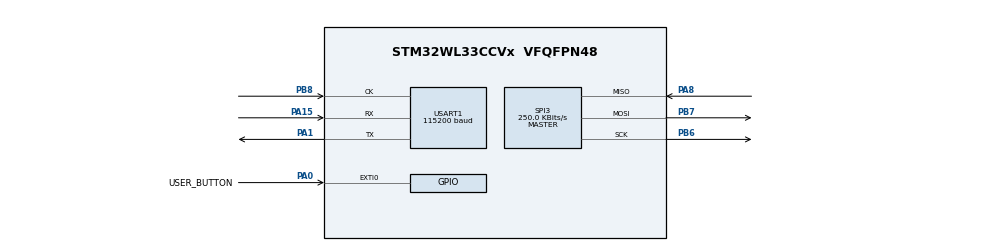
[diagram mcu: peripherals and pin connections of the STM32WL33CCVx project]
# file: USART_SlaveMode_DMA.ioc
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Dma.Request0=USART1_RX
Dma.Request1=USART1_TX
Dma.Request2=SPI3_TX
Dma.Request3=SPI3_RX
Dma.SPI3_RX.3.Direction=DMA_PERIPH_TO_MEMORY
Dma.SPI3_RX.3.EventEnable=DISABLE
Dma.SPI3_RX.3.FIFOMode=DMA_FIFOMODE_DISABLE
Dma.SPI3_RX.3.Instance=DMA1_Channel2
Dma.SPI3_RX.3.MDMA_Chaining=ENABLE
Dma.SPI3_RX.3.Mandatory=DISABLE
Dma.SPI3_RX.3.MemDataAlignment=DMA_MDATAALIGN_BYTE
Dma.SPI3_RX.3.MemInc=DMA_MINC_ENABLE
Dma.SPI3_RX.3.Mode=DMA_NORMAL
Dma.SPI3_RX.3.PeriphDataAlignment=DMA_PDATAALIGN_BYTE
Dma.SPI3_RX.3.PeriphInc=DMA_PINC_DISABLE
Dma.SPI3_RX.3.Priority=DMA_PRIORITY_VERY_HIGH
Dma.SPI3_RX.3.SignalID=NONE
Dma.SPI3_RX.3.SyncEnable=DISABLE
Dma.SPI3_RX.3.SyncRequestNumber=1
Dma.SPI3_TX.2.Direction=DMA_MEMORY_TO_PERIPH
Dma.SPI3_TX.2.EventEnable=DISABLE
Dma.SPI3_TX.2.FIFOMode=DMA_FIFOMODE_DISABLE
Dma.SPI3_TX.2.Instance=DMA1_Channel1
Dma.SPI3_TX.2.MDMA_Chaining=ENABLE
Dma.SPI3_TX.2.Mandatory=DISABLE
Dma.SPI3_TX.2.MemDataAlignment=DMA_MDATAALIGN_BYTE
Dma.SPI3_TX.2.MemInc=DMA_MINC_ENABLE
Dma.SPI3_TX.2.Mode=DMA_NORMAL
Dma.SPI3_TX.2.PeriphDataAlignment=DMA_PDATAALIGN_BYTE
Dma.SPI3_TX.2.PeriphInc=DMA_PINC_DISABLE
Dma.SPI3_TX.2.Priority=DMA_PRIORITY_VERY_HIGH
Dma.SPI3_TX.2.SignalID=NONE
Dma.SPI3_TX.2.SyncEnable=DISABLE
Dma.SPI3_TX.2.SyncRequestNumber=1
Dma.USART1_RX.0.Direction=DMA_PERIPH_TO_MEMORY
Dma.USART1_RX.0.EventEnable=DISABLE
Dma.USART1_RX.0.FIFOMode=DMA_FIFOMODE_DISABLE
Dma.USART1_RX.0.Instance=DMA1_Channel3
Dma.USART1_RX.0.MDMA_Chaining=ENABLE
Dma.USART1_RX.0.Mandatory=DISABLE
Dma.USART1_RX.0.MemDataAlignment=DMA_MDATAALIGN_BYTE
Dma.USART1_RX.0.MemInc=DMA_MINC_ENABLE
Dma.USART1_RX.0.Mode=DMA_NORMAL
Dma.USART1_RX.0.PeriphDataAlignment=DMA_PDATAALIGN_BYTE
Dma.USART1_RX.0.PeriphInc=DMA_PINC_DISABLE
Dma.USART1_RX.0.Priority=DMA_PRIORITY_VERY_HIGH
Dma.USART1_RX.0.SignalID=NONE
Dma.USART1_RX.0.SyncEnable=DISABLE
Dma.USART1_RX.0.SyncRequestNumber=1
Dma.USART1_TX.1.Direction=DMA_MEMORY_TO_PERIPH
Dma.USART1_TX.1.EventEnable=DISABLE
Dma.USART1_TX.1.FIFOMode=DMA_FIFOMODE_DISABLE
Dma.USART1_TX.1.Instance=DMA1_Channel4
Dma.USART1_TX.1.MDMA_Chaining=ENABLE
Dma.USART1_TX.1.Mandatory=DISABLE
Dma.USART1_TX.1.MemDataAlignment=DMA_MDATAALIGN_BYTE
Dma.USART1_TX.1.MemInc=DMA_MINC_ENABLE
Dma.USART1_TX.1.Mode=DMA_NORMAL
Dma.USART1_TX.1.PeriphDataAlignment=DMA_PDATAALIGN_BYTE
Dma.USART1_TX.1.PeriphInc=DMA_PINC_DISABLE
Dma.USART1_TX.1.Priority=DMA_PRIORITY_VERY_HIGH
Dma.USART1_TX.1.SignalID=NONE
Dma.USART1_TX.1.SyncEnable=DISABLE
Dma.USART1_TX.1.SyncRequestNumber=1
Mcu.Family=STM32WL3
Mcu.Name=STM32WL33CCVx
Mcu.Package=VFQFPN48
NVIC.DMA_IRQn=true\:0\:0\:false\:false\:true\:false\:true\:true
NVIC.GPIOA_IRQn=true\:0\:0\:false\:false\:true\:true\:true\:true
NVIC.SPI3_IRQn=true\:0\:0\:false\:false\:true\:true\:true\:true
NVIC.USART1_IRQn=true\:0\:0\:false\:false\:true\:true\:true\:true
OSCIN.Mode=HSE-External-Oscillator
OSCIN.Signal=RCC_OSC_IN
OSCOUT.Mode=HSE-External-Oscillator
OSCOUT.Signal=RCC_OSC_OUT
PA0.GPIO_Label=USER_BUTTON
PA0.GPIO_ModeDefaultEXTI=GPIO_MODE_IT_FALLING
PA0.GPIO_PuPd=GPIO_PULLUP
PA0.Signal=GPXTI0
PA1.GPIO_PuPd=GPIO_NOPULL
PA1.GPIO_Speed=GPIO_SPEED_FREQ_VERY_HIGH
PA1.Mode=Synchronous Slave
PA1.Signal=USART1_TX
PA15.GPIO_PuPd=GPIO_NOPULL
PA15.GPIO_Speed=GPIO_SPEED_FREQ_VERY_HIGH
PA15.Mode=Synchronous Slave
PA15.Signal=USART1_RX
PA8.GPIO_PuPd=GPIO_NOPULL
PA8.GPIO_Speed=GPIO_SPEED_FREQ_VERY_HIGH
PA8.Mode=Full_Duplex_Master
PA8.Signal=SPI3_MISO
PB6.GPIO_PuPd=GPIO_NOPULL
PB6.GPIO_Speed=GPIO_SPEED_FREQ_VERY_HIGH
PB6.Mode=Full_Duplex_Master
PB6.Signal=SPI3_SCK
PB7.GPIO_PuPd=GPIO_NOPULL
PB7.GPIO_Speed=GPIO_SPEED_FREQ_VERY_HIGH
PB7.Mode=Full_Duplex_Master
PB7.Signal=SPI3_MOSI
PB8.GPIO_PuPd=GPIO_NOPULL
PB8.GPIO_Speed=GPIO_SPEED_FREQ_VERY_HIGH
PB8.Mode=Synchronous Slave
PB8.Signal=USART1_CK
ProjectManager.HeapSize=0x000
ProjectManager.StackSize=0xC00
ProjectManager.TargetToolchain=EWARM V9.30
RCC.HSE_VALUE=48000000
RCC.HSI_VALUE=64000000
RCC.LSE_VALUE=32768
RCC.RC64MPLLSource=RCC_LSCOSOURCE_PLL64
SPI3.BaudRatePrescaler=SPI_BAUDRATEPRESCALER_256
SPI3.CLKPolarity=SPI_POLARITY_HIGH
SPI3.CalculateBaudRate=250.0 KBits/s
SPI3.DataSize=SPI_DATASIZE_8BIT
SPI3.Direction=SPI_DIRECTION_2LINES
SPI3.FirstBit=SPI_FIRSTBIT_LSB
SPI3.Mode=SPI_MODE_MASTER
SPI3.NSSPMode=SPI_NSS_PULSE_DISABLE
SPI3.VirtualType=VM_MASTER
USART1.BaudRate=115200
USART1.CLKLastBit=USART_LASTBIT_ENABLE
USART1.CLKPolarity=USART_POLARITY_HIGH
USART1.VirtualMode-Synchronous\ Slave=VM_SYNC
VP_PWR_VS_SECSignals.Mode=Security/Privilege
board=custom

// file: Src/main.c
/* USER CODE BEGIN Header */
/**
  ******************************************************************************
  * @file           : main.c
  * @brief          : Main program body
  ******************************************************************************
  * @attention
  *
  * Copyright (c) 2024 STMicroelectronics.
  * All rights reserved.
  *
  * This software is licensed under terms that can be found in the LICENSE file
  * in the root directory of this software component.
  * If no LICENSE file comes with this software, it is provided AS-IS.
  *
  ******************************************************************************
  */
/* USER CODE END Header */
#include "main.h"

SPI_HandleTypeDef hspi3;
DMA_HandleTypeDef hdma_spi3_tx;
DMA_HandleTypeDef hdma_spi3_rx;

USART_HandleTypeDef husart1;
DMA_HandleTypeDef hdma_usart1_rx;
DMA_HandleTypeDef hdma_usart1_tx;

/* USER CODE BEGIN PV */
__IO uint32_t UserButtonStatus = 0; /* set to 1 after User Button interrupt */
__IO ITStatus UsartReady = RESET;
__IO ITStatus SpiReady = RESET;

/* Buffer used for transmission */
uint8_t aTxBuffer[] = " **** USART_SlaveMode ****  **** USART_SlaveMode ****  **** USART_SlaveMode **** ";

/* Buffer used for reception */
uint8_t aRxBuffer[RXBUFFERSIZE];
/* USER CODE END PV */

void SystemClock_Config(void);
void PeriphCommonClock_Config(void);
static void MX_GPIO_Init(void);
static void MX_DMA_Init(void);
static void MX_SPI3_Init(void);
static void MX_USART1_Init(void);
/* USER CODE BEGIN PFP */
static uint16_t Buffercmp(uint8_t* pBuffer1, uint8_t* pBuffer2, uint16_t BufferLength);
/* USER CODE END PFP */

int main(void)
{

  /* USER CODE BEGIN 1 */
  /* STM32WL3x HAL library initialization:
       - Systick timer is configured by default as source of time base, but user
             can eventually implement his proper time base source (a general purpose
             timer for example or other time source), keeping in mind that Time base
             duration should be kept 1ms since PPP_TIMEOUT_VALUEs are defined and
             handled in milliseconds basis.
       - Set NVIC Group Priority to 4
       - Low Level Initialization
     */
  /* USER CODE END 1 */

  /* MCU Configuration--------------------------------------------------------*/

  /* Reset of all peripherals, Initializes the Flash interface and the Systick. */
  HAL_Init();

  /* Configure the system clock */
  SystemClock_Config();

  /* Configure the peripherals common clocks */
  PeriphCommonClock_Config();

  /* Initialize all configured peripherals */
  MX_GPIO_Init();
  MX_DMA_Init();
  MX_SPI3_Init();
  MX_USART1_Init();
  /* USER CODE BEGIN 2 */
  /* Configure LD1, LD2 and LD3 */
  BSP_LED_Init(LD1);
  BSP_LED_Init(LD2);
  BSP_LED_Init(LD3);

#ifdef SLAVE_BOARD
  /* Configure the Slave Select input pin */
  HAL_USARTEx_ConfigNSS(&husart1, USART_NSS_SOFT);

  /*##-2- Start the transmission/reception process ###########################*/
  if(HAL_USART_TransmitReceive_DMA(&husart1, (uint8_t*)aTxBuffer, (uint8_t*)aRxBuffer, TXBUFFERSIZE)!= HAL_OK)
  {
    Error_Handler();
  }

  /* Wait of USART state ready */
  while(UsartReady == RESET)
  {
    /* Toggle LD2*/
    BSP_LED_Toggle(LD2);
    HAL_Delay(100);
  }
  BSP_LED_Off(LD2);

#else

   /* Configure User push-button in Interrupt mode */
  BSP_PB_Init(B1, BUTTON_MODE_EXTI);

  /* Wait for User push-button press before starting the Communication.
     In the meantime, LD2 is blinking */
  while(UserButtonStatus == 0)
  {
    /* Toggle LD2*/
    BSP_LED_Toggle(LD2);
    HAL_Delay(100);
  }
  BSP_LED_Off(LD2);

  /*##-2- Start the transmission/reception process ###########################*/
  if(HAL_SPI_TransmitReceive_DMA(&hspi3, (uint8_t*)aTxBuffer, (uint8_t*)aRxBuffer, TXBUFFERSIZE)!= HAL_OK)
  {
    Error_Handler();
  }

  /* Wait of SPI state ready */
  while(SpiReady == RESET);

#endif /* SLAVE_BOARD */

  /*##-4- Compare the sent and received buffers ##############################*/
  if(Buffercmp((uint8_t*)aTxBuffer,(uint8_t*)aRxBuffer,RXBUFFERSIZE))
  {
    Error_Handler();
  }

  /* Turn on LD1 if test passes then enter infinite loop */
  BSP_LED_On(LD1);
  /* USER CODE END 2 */

  /* Infinite loop */
  while (1)
  {

  }
}

void SystemClock_Config(void)
{
  RCC_OscInitTypeDef RCC_OscInitStruct = {0};
  RCC_ClkInitTypeDef RCC_ClkInitStruct = {0};

  /** Initializes the RCC Oscillators according to the specified parameters
  * in the RCC_OscInitTypeDef structure.
  */
  RCC_OscInitStruct.OscillatorType = RCC_OSCILLATORTYPE_HSE;
  RCC_OscInitStruct.HSEState = RCC_HSE_ON;
  if (HAL_RCC_OscConfig(&RCC_OscInitStruct) != HAL_OK)
  {
    Error_Handler();
  }

  /** Configure the SYSCLKSource and SYSCLKDivider
  */
  RCC_ClkInitStruct.SYSCLKSource = RCC_SYSCLKSOURCE_RC64MPLL;
  RCC_ClkInitStruct.SYSCLKDivider = RCC_RC64MPLL_DIV1;

  if (HAL_RCC_ClockConfig(&RCC_ClkInitStruct, FLASH_WAIT_STATES_1) != HAL_OK)
  {
    Error_Handler();
  }
}

void PeriphCommonClock_Config(void)
{
  RCC_PeriphCLKInitTypeDef PeriphClkInitStruct = {0};

  /** Initializes the peripherals clock
  */
  PeriphClkInitStruct.PeriphClockSelection = RCC_PERIPHCLK_SMPS;
  PeriphClkInitStruct.SmpsDivSelection = RCC_SMPSCLK_DIV2;
  PeriphClkInitStruct.KRMRateMultiplier = 2;

  if (HAL_RCCEx_PeriphCLKConfig(&PeriphClkInitStruct) != HAL_OK)
  {
    Error_Handler();
  }
}

static void MX_SPI3_Init(void)
{

  /* SPI3 parameter configuration*/
  hspi3.Instance = SPI3;
  hspi3.Init.Mode = SPI_MODE_MASTER;
  hspi3.Init.Direction = SPI_DIRECTION_2LINES;
  hspi3.Init.DataSize = SPI_DATASIZE_8BIT;
  hspi3.Init.CLKPolarity = SPI_POLARITY_HIGH;
  hspi3.Init.CLKPhase = SPI_PHASE_1EDGE;
  hspi3.Init.NSS = SPI_NSS_SOFT;
  hspi3.Init.BaudRatePrescaler = SPI_BAUDRATEPRESCALER_256;
  hspi3.Init.FirstBit = SPI_FIRSTBIT_LSB;
  hspi3.Init.TIMode = SPI_TIMODE_DISABLE;
  hspi3.Init.CRCCalculation = SPI_CRCCALCULATION_DISABLE;
  hspi3.Init.CRCPolynomial = 7;
  hspi3.Init.CRCLength = SPI_CRC_LENGTH_DATASIZE;
  hspi3.Init.NSSPMode = SPI_NSS_PULSE_DISABLE;
  if (HAL_SPI_Init(&hspi3) != HAL_OK)
  {
    Error_Handler();
  }

}

static void MX_USART1_Init(void)
{

  husart1.Instance = USART1;
  husart1.Init.BaudRate = 115200;
  husart1.Init.WordLength = USART_WORDLENGTH_8B;
  husart1.Init.StopBits = USART_STOPBITS_1;
  husart1.Init.Parity = USART_PARITY_NONE;
  husart1.Init.Mode = USART_MODE_TX_RX;
  husart1.Init.CLKPolarity = USART_POLARITY_HIGH;
  husart1.Init.CLKPhase = USART_PHASE_1EDGE;
  husart1.Init.CLKLastBit = USART_LASTBIT_ENABLE;
  husart1.Init.ClockPrescaler = USART_PRESCALER_DIV1;
  husart1.SlaveMode = USART_SLAVEMODE_ENABLE;
  if (HAL_USART_Init(&husart1) != HAL_OK)
  {
    Error_Handler();
  }
  if (HAL_USARTEx_SetTxFifoThreshold(&husart1, USART_TXFIFO_THRESHOLD_1_8) != HAL_OK)
  {
    Error_Handler();
  }
  if (HAL_USARTEx_SetRxFifoThreshold(&husart1, USART_RXFIFO_THRESHOLD_1_8) != HAL_OK)
  {
    Error_Handler();
  }
  if (HAL_USARTEx_DisableFifoMode(&husart1) != HAL_OK)
  {
    Error_Handler();
  }
  if (HAL_USARTEx_EnableSlaveMode(&husart1) != HAL_OK)
  {
    Error_Handler();
  }

}

static void MX_DMA_Init(void)
{

  /* DMA controller clock enable */
  __HAL_RCC_DMA_CLK_ENABLE();

  /* DMA interrupt init */
  /* DMA_IRQn interrupt configuration */
  HAL_NVIC_SetPriority(DMA_IRQn, 0, 0);
  HAL_NVIC_EnableIRQ(DMA_IRQn);

}

static void MX_GPIO_Init(void)
{
  GPIO_InitTypeDef GPIO_InitStruct = {0};
/* USER CODE BEGIN MX_GPIO_Init_1 */
  __HAL_RCC_SYSCFG_CLK_ENABLE();
/* USER CODE END MX_GPIO_Init_1 */

  /* GPIO Ports Clock Enable */
  __HAL_RCC_GPIOA_CLK_ENABLE();
  __HAL_RCC_GPIOB_CLK_ENABLE();

  /*Configure GPIO pin : USER_BUTTON_Pin */
  GPIO_InitStruct.Pin = USER_BUTTON_Pin;
  GPIO_InitStruct.Mode = GPIO_MODE_IT_FALLING;
  GPIO_InitStruct.Pull = GPIO_PULLUP;
  HAL_GPIO_Init(USER_BUTTON_GPIO_Port, &GPIO_InitStruct);

  /* EXTI interrupt init*/
  HAL_NVIC_SetPriority(GPIOA_IRQn, 0, 0);
  HAL_NVIC_EnableIRQ(GPIOA_IRQn);

}

/* USER CODE BEGIN 4 */
/**
  * @brief  TX/Rx Transfer completed callback
  * @param  UsartHandle: USART handle
  * @note   This example shows a simple way to report end of DMA TX/Rx transfer, and
  *         you can add your own implementation.
  * @retval None
  */
void HAL_USART_TxRxCpltCallback(USART_HandleTypeDef *UsartHandle)
{
  /* Set transmission flag: transfer complete */
  UsartReady = SET;

}

/**
  * @brief  TX/Rx Transfer completed callback
  * @param  SpiHandle: SPI handle
  * @note   This example shows a simple way to report end of DMA TX/Rx transfer, and
  *         you can add your own implementation.
  * @retval None
  */
void HAL_SPI_TxRxCpltCallback(SPI_HandleTypeDef *SpiHandle)
{
  /* Set transmission flag: transfer complete */
  SpiReady = SET;
}

/**
  * @brief  UART error callbacks
  * @param  UartHandle: UART handle
  * @note   This example shows a simple way to report transfer error, and you can
  *         add your own implementation.
  * @retval None
  */
void HAL_USART_ErrorCallback(USART_HandleTypeDef *UsartHandle)
{
    Error_Handler();
}

/**
  * @brief EXTI line detection callbacks
  * @param GPIO_Pin: Specifies the pins connected EXTI line
  * @retval None
  */
void HAL_GPIO_EXTI_Callback(GPIO_TypeDef* GPIOx, uint16_t GPIO_Pin)
{

    UserButtonStatus = 1;

}

/**
  * @brief  Compares two buffers.
  * @param  pBuffer1, pBuffer2: buffers to be compared.
  * @param  BufferLength: buffer's length
  * @retval 0  : pBuffer1 identical to pBuffer2
  *         >0 : pBuffer1 differs from pBuffer2
  */
static uint16_t Buffercmp(uint8_t* pBuffer1, uint8_t* pBuffer2, uint16_t BufferLength)
{
  while (BufferLength--)
  {
    if ((*pBuffer1) != *pBuffer2)
    {
      return BufferLength;
    }
    pBuffer1++;
    pBuffer2++;
  }

  return 0;
}

/* USER CODE END 4 */

void Error_Handler(void)
{
  /* USER CODE BEGIN Error_Handler_Debug */
  /* Turn LD3 on */
  BSP_LED_On(LD3);
  __disable_irq();
  while (1)
  {
  }
  /* USER CODE END Error_Handler_Debug */
}
